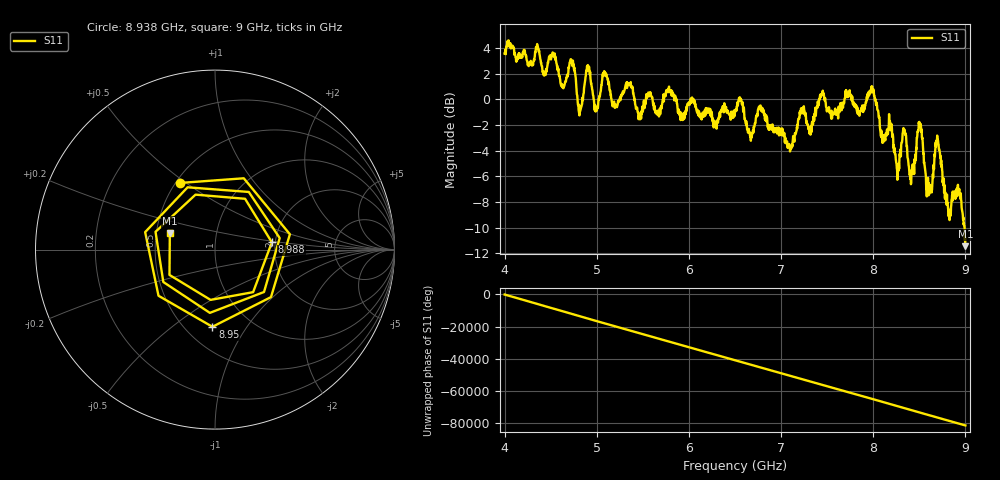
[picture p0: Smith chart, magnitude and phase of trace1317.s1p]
! Created with skrf 1.8.0 (http://scikit-rf.org).
# Hz S RI R 50.0
!freq ReS11 ImS11
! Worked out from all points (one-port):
!   1601 points, 4 GHz to 9 GHz, reference 50 ohm
!   lowest |S11| = -11.5 dB at 9 GHz (marker M1), VSWR 1.73, Z = 29.5 + j5.74 ohm
!   |S11| at or under -10 dB: 8.99116 GHz to end of sweep
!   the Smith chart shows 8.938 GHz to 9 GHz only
!   S11 on the Smith chart (normalised r, x): 8.938 GHz: 0.53, +0.47; 8.95 GHz: 0.67, -0.71; 8.988 GHz: 1.92, +0.17; 9 GHz: 0.59, +0.11
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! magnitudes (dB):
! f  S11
! 4 GHz  3.6
! 4.531 GHz  3.6
! 4.625 GHz  1.2
! 4.725 GHz  3.0
! 4.816 GHz  -0.8
! 4.903 GHz  2.7
! 4.991 GHz  -0.8
! 5.088 GHz  2.1
! 5.25 GHz  0.0
! 5.875 GHz  -0.5
! 6.5 GHz  -1.0
! 7.125 GHz  -3.3
! 7.228 GHz  -0.8
! 7.319 GHz  -2.7
! 7.75 GHz  0.3
! 7.988 GHz  1.0
! 8.259 GHz  -5.5
! 8.331 GHz  -2.5
! 8.375 GHz  -4.6
! 8.419 GHz  -5.6
! 8.506 GHz  -1.9
! 8.6 GHz  -7.5
! 8.697 GHz  -3.2
! 8.819 GHz  -9.1
! 8.938 GHz  -7.5
! 8.95 GHz  -7.3
! 8.988 GHz  -9.9
! 9 GHz  -11.5
